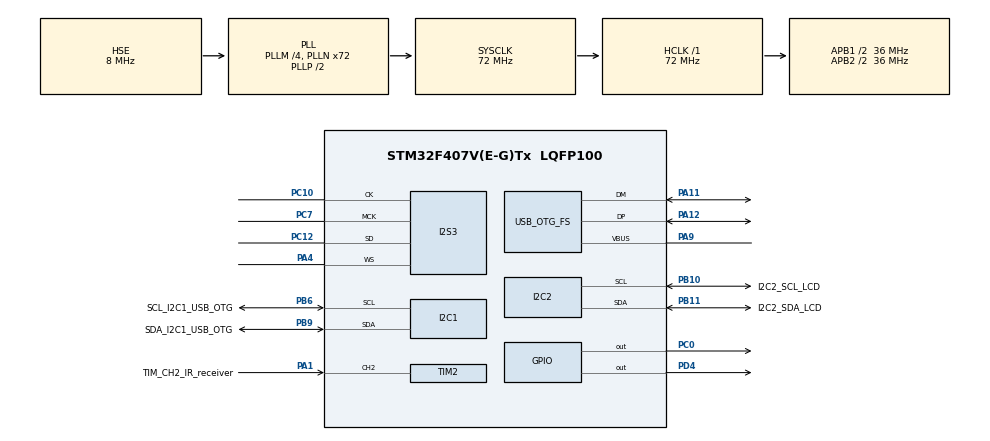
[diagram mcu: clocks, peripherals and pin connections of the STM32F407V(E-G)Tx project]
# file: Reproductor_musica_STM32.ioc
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ADC1.Channel-0\#ChannelRegularConversion=ADC_CHANNEL_TEMPSENSOR
ADC1.Channel-1\#ChannelRegularConversion=ADC_CHANNEL_TEMPSENSOR
ADC1.Channel-2\#ChannelRegularConversion=ADC_CHANNEL_TEMPSENSOR
ADC1.ContinuousConvMode=DISABLE
ADC1.DMAContinuousRequests=ENABLE
ADC1.ExternalTrigConv=ADC_EXTERNALTRIGCONV_T3_TRGO
ADC1.NbrOfConversion=3
ADC1.NbrOfConversionFlag=1
ADC1.Rank-0\#ChannelRegularConversion=1
ADC1.Rank-1\#ChannelRegularConversion=2
ADC1.Rank-2\#ChannelRegularConversion=3
ADC1.Resolution=ADC_RESOLUTION_10B
ADC1.SamplingTime-0\#ChannelRegularConversion=ADC_SAMPLETIME_480CYCLES
ADC1.SamplingTime-1\#ChannelRegularConversion=ADC_SAMPLETIME_480CYCLES
ADC1.SamplingTime-2\#ChannelRegularConversion=ADC_SAMPLETIME_480CYCLES
ADC1.master=1
Dma.ADC1.1.Direction=DMA_PERIPH_TO_MEMORY
Dma.ADC1.1.FIFOMode=DMA_FIFOMODE_DISABLE
Dma.ADC1.1.Instance=DMA2_Stream0
Dma.ADC1.1.MemDataAlignment=DMA_MDATAALIGN_HALFWORD
Dma.ADC1.1.MemInc=DMA_MINC_ENABLE
Dma.ADC1.1.Mode=DMA_CIRCULAR
Dma.ADC1.1.PeriphDataAlignment=DMA_PDATAALIGN_HALFWORD
Dma.ADC1.1.PeriphInc=DMA_PINC_DISABLE
Dma.ADC1.1.Priority=DMA_PRIORITY_LOW
Dma.Request0=SPI3_TX
Dma.Request1=ADC1
Dma.SPI3_TX.0.Direction=DMA_MEMORY_TO_PERIPH
Dma.SPI3_TX.0.FIFOMode=DMA_FIFOMODE_ENABLE
Dma.SPI3_TX.0.FIFOThreshold=DMA_FIFO_THRESHOLD_FULL
Dma.SPI3_TX.0.Instance=DMA1_Stream5
Dma.SPI3_TX.0.MemBurst=DMA_MBURST_SINGLE
Dma.SPI3_TX.0.MemDataAlignment=DMA_MDATAALIGN_HALFWORD
Dma.SPI3_TX.0.MemInc=DMA_MINC_ENABLE
Dma.SPI3_TX.0.Mode=DMA_CIRCULAR
Dma.SPI3_TX.0.PeriphBurst=DMA_PBURST_SINGLE
Dma.SPI3_TX.0.PeriphDataAlignment=DMA_PDATAALIGN_HALFWORD
Dma.SPI3_TX.0.PeriphInc=DMA_PINC_DISABLE
Dma.SPI3_TX.0.Priority=DMA_PRIORITY_LOW
FATFS._USE_LFN=1
I2S3.AudioFreq=I2S_AUDIOFREQ_44K
I2S3.ErrorAudioFreq=-0.12 %
I2S3.FullDuplexMode=I2S_FULLDUPLEXMODE_DISABLE
I2S3.Instance=SPI$Index
I2S3.RealAudioFreq=43.945 KHz
I2S3.VirtualMode=I2S_MODE_MASTER
Mcu.Family=STM32F4
Mcu.Name=STM32F407V(E-G)Tx
Mcu.Package=LQFP100
NVIC.DMA1_Stream5_IRQn=true\:0\:0\:true\:false\:true\:false\:true
NVIC.DMA2_Stream0_IRQn=true\:0\:0\:false\:false\:true\:false\:true
NVIC.OTG_FS_IRQn=true\:0\:0\:true\:false\:true\:false\:true
NVIC.PriorityGroup=NVIC_PRIORITYGROUP_4
NVIC.TIM2_IRQn=true\:0\:0\:false\:false\:true\:true\:true
NVIC.TIM3_IRQn=true\:0\:0\:false\:false\:true\:true\:true
PA1.GPIO_Label=TIM_CH2_IR_receiver
PA1.Signal=S_TIM2_CH2
PA11.Mode=Host_Only
PA11.Signal=USB_OTG_FS_DM
PA12.Mode=Host_Only
PA12.Signal=USB_OTG_FS_DP
PA4.Mode=Half_Duplex_Master
PA4.Signal=I2S3_WS
PA9.Mode=Activate_VBUS
PA9.Signal=USB_OTG_FS_VBUS
PB10.GPIO_Label=I2C2_SCL_LCD
PB10.Mode=I2C
PB10.Signal=I2C2_SCL
PB11.GPIO_Label=I2C2_SDA_LCD
PB11.Mode=I2C
PB11.Signal=I2C2_SDA
PB6.GPIO_Label=SCL_I2C1_USB_OTG
PB6.Mode=I2C
PB6.Signal=I2C1_SCL
PB9.GPIO_Label=SDA_I2C1_USB_OTG
PB9.Mode=I2C
PB9.Signal=I2C1_SDA
PC0.Signal=GPIO_Output
PC10.Mode=Half_Duplex_Master
PC10.Signal=I2S3_CK
PC12.Mode=Half_Duplex_Master
PC12.Signal=I2S3_SD
PC7.Mode=Master_Clock_Activated
PC7.Signal=I2S3_MCK
PD4.Signal=GPIO_Output
PH0-OSC_IN.Mode=HSE-External-Oscillator
PH0-OSC_IN.Signal=RCC_OSC_IN
PH1-OSC_OUT.Mode=HSE-External-Oscillator
PH1-OSC_OUT.Signal=RCC_OSC_OUT
ProjectManager.HeapSize=0x200
ProjectManager.StackSize=0x400
ProjectManager.TargetToolchain=STM32CubeIDE
RCC.48MHZClocksFreq_Value=48000000
RCC.AHBFreq_Value=72000000
RCC.APB1CLKDivider=RCC_HCLK_DIV2
RCC.APB1Freq_Value=36000000
RCC.APB1TimFreq_Value=72000000
RCC.APB2CLKDivider=RCC_HCLK_DIV2
RCC.APB2Freq_Value=36000000
RCC.APB2TimFreq_Value=72000000
RCC.CortexFreq_Value=72000000
RCC.HCLKFreq_Value=72000000
RCC.HSE_VALUE=8000000
RCC.HSI_VALUE=16000000
RCC.LSE_VALUE=32768
RCC.PLLI2SN=90
RCC.PLLM=4
RCC.PLLN=72
RCC.PLLQ=3
RCC.SYSCLKFreq_VALUE=72000000
RCC.SYSCLKSource=RCC_SYSCLKSOURCE_PLLCLK
RCC.VCOOutputFreq_Value=144000000
SH.S_TIM2_CH2.0=TIM2_CH2,Input_Capture2_from_TI2
TIM2.Channel-Input_Capture2_from_TI2=TIM_CHANNEL_2
TIM2.ICPolarity_CH2=TIM_INPUTCHANNELPOLARITY_FALLING
TIM2.Prescaler=7199
TIM3.Period=49999
TIM3.Prescaler=7199
TIM3.TIM_MasterOutputTrigger=TIM_TRGO_UPDATE
TIM3.TIM_MasterSlaveMode=TIM_MASTERSLAVEMODE_DISABLE
USB_HOST.BSP.number=1
USB_HOST.USBH_HandleTypeDef-MSC_FS=hUsbHostFS
USB_HOST.VirtualModeFS=Msc
USB_HOST0.BSP.STBoard=false
USB_HOST0.BSP.api=Unknown
USB_HOST0.BSP.i2caddr=0
USB_HOST0.BSP.instance=PC0
USB_HOST0.BSP.ip=GPIO
USB_HOST0.BSP.mode=Output
USB_HOST0.BSP.name=Drive_VBUS_FS
USB_HOST0.BSP.solution=PC0
USB_OTG_FS.VirtualMode=Host_Only
USB_OTG_FS.phy_itface=HCD_PHY_EMBEDDED
VP_ADC1_TempSens_Input.Mode=IN-TempSens
VP_FATFS_VS_USB.Mode=USB
VP_TIM2_VS_ClockSourceINT.Mode=Internal
VP_TIM3_VS_ClockSourceINT.Mode=Internal
VP_USB_HOST_VS_USB_HOST_MSC_FS.Mode=MSC_FS
board=custom

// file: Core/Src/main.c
/* USER CODE BEGIN Header */
/**
  ******************************************************************************
  * @file           : main.c
  * @brief          : Main program body
  ******************************************************************************
  * @attention
  *
  * Copyright (c) 2022 STMicroelectronics.
  * All rights reserved.
  *
  * This software is licensed under terms that can be found in the LICENSE file
  * in the root directory of this software component.
  * If no LICENSE file comes with this software, it is provided AS-IS.
  *
  ******************************************************************************
  */
/* USER CODE END Header */
#include "main.h"
#include "fatfs.h"
#include "usb_host.h"

/* USER CODE BEGIN Includes */
#include<string.h>
#include "AUDIO_LINK.h"
#include "AUDIO.h"
#include "cs43l22.h"
#include "waveplayer.h"
#include "File_Handling.h"

#include "lcd16x2_i2c.h"      //Librería para el control del LCD 16x2
#include "nec_ir_stm32.h"     //Librería para la decodificación de la señal del sensor infrarrojos
/* USER CODE END Includes */

ADC_HandleTypeDef hadc1;
DMA_HandleTypeDef hdma_adc1;

I2C_HandleTypeDef hi2c1;
I2C_HandleTypeDef hi2c2;

I2S_HandleTypeDef hi2s3;
DMA_HandleTypeDef hdma_spi3_tx;

TIM_HandleTypeDef htim2;
TIM_HandleTypeDef htim3;

/* USER CODE BEGIN PV */

//VARIABLES DATOS INFRARROJOS
volatile uint32_t buffer=0;     //Buffer para el almacenamiento de los datos recibidos por el IR
uint8_t device=0;               //Código del elemento emisor
uint8_t mensaje=0;              //Código del mensaje recibido
volatile uint8_t flag_end=0;    //Marca para indicar que se han recibido nuevos datos del sensor IR. 0 si no lo ha hecho, 1 si si

//VARIABLES FICHEROS Y CONTROL DE MUSICA
uint8_t IsPlaying=0;			//Marca para indicar si se esta reproduciendo musica. 1 si se esta reproduciendo, 0 si no
extern ApplicationTypeDef Appli_state;
extern AUDIO_PLAYBACK_StateTypeDef AudioState;
char nombre[40];				//Nombre de la canción que se está reproduciendo
uint16_t idx;					//Indice de la canción que se está reproduciendo
extern FILELIST_FileTypeDef FileList;  //Lista de canciones generada a partir de los archivos del USB
uint8_t IsFinished=0;			//1 si ha terminado de reproducir la cancion

//VARIABLES SENSOR TEMPERATURA
volatile uint16_t ADC_value[3]={0,0,0};	//Valor leido del sensor de temperatura
float temperatura=0;			//Temperatura media de las tres medidas
float Vsense=0;					//Tension medida con el sensor
uint8_t convCompleted=0;        //1 si se ha completado una lectura del sensor

/* USER CODE END PV */

void SystemClock_Config(void);
static void MX_GPIO_Init(void);
static void MX_DMA_Init(void);
static void MX_I2C1_Init(void);
static void MX_I2S3_Init(void);
static void MX_I2C2_Init(void);
static void MX_TIM2_Init(void);
static void MX_ADC1_Init(void);
static void MX_TIM3_Init(void);
void MX_USB_HOST_Process(void);

/* USER CODE BEGIN PFP */
void HAL_TIM_IC_CaptureCallback(TIM_HandleTypeDef* htim);
void HAL_ADC_ConvCpltCallback(ADC_HandleTypeDef* hadc);
void imprimeLCD(uint8_t USB_connected, uint8_t IsPlaying, char* nombre,float temperatura);
/* USER CODE END PFP */

int main(void)
{

  /* MCU Configuration--------------------------------------------------------*/

  /* Reset of all peripherals, Initializes the Flash interface and the Systick. */
  HAL_Init();

  /* Configure the system clock */
  SystemClock_Config();

  /* Initialize all configured peripherals */
  MX_GPIO_Init();
  MX_DMA_Init();
  MX_I2C1_Init();
  MX_I2S3_Init();
  MX_FATFS_Init();
  MX_USB_HOST_Init();
  MX_I2C2_Init();
  MX_TIM2_Init();
  MX_ADC1_Init();
  MX_TIM3_Init();
  /* USER CODE BEGIN 2 */

  //Inicializacion interrupciones temporizador para receptor IR
  HAL_TIM_IC_Start_IT(&htim2, TIM_CHANNEL_2);

  //Inicializacion LCD
  lcd16x2_i2c_init(&hi2c2);
  lcd16x2_i2c_TwoLines();
  lcd16x2_i2c_setCursor(0, 5);
  lcd16x2_i2c_printf("Hola!!");
  lcd16x2_i2c_setCursor(0, 0);
  HAL_Delay(3000);

  //Inicializacion sensor de temperatura y su temporizador
  HAL_TIM_Base_Start(&htim3);
  HAL_ADC_Start_DMA(&hadc1, (uint32_t*)ADC_value, 3);
  /* USER CODE END 2 */

  /* Infinite loop */
  while (1)
  {
    MX_USB_HOST_Process();

    /* USER CODE BEGIN 3 */
    //Si el USB se ha conectado correctamente, se inicia la aplicacion
    if(Appli_state==APPLICATION_READY)
    {
    	Mount_USB();		 //Se monta el USB
    	AUDIO_PLAYER_Start(0);  //Se comienza a reproducir la primera cancion de la lista
    	IsPlaying=1;
        while(!IsFinished)
        {
       	AUDIO_PLAYER_Process(true);

       	/*Se obtiene el nombre de la canción que se encuentra en
       	reproduccion para poder imprimirlo en el LCD. Para ello
       	se introduce en la caden "nombre" y se imprime
       	 */
       	idx=getFilePos(); //Se obtiene la posicion de la lista de la cancion que se reproduce
        	if(strcmp(nombre,(char*)FileList.file[idx].name)) //Si el contenido de "nombre" es distinto al del archivo que se esta reproduciendo
        	{
        		strcpy(nombre,(char*)FileList.file[idx].name); //Se copia el nombre del archivo en "nombre"
        		imprimeLCD(1, IsPlaying, nombre, temperatura); //Se imprime en el LCD
        	}

        	/*Si han llegado nuevos datos al buffer del control remoto
        	se obtienen de el los datos recibidos y el codigo del dispositivo emisor,
        	y dependiendo de lo que le haya llegado, realizara una funcion u otra
        	*/
        	if(flag_end)
        	{
        		decodeIR(&buffer,&device, &mensaje); //Se obtiene el mensaje enviado y el codigo del dispositivo a partir de los datos del buffer
        		if(device==0xff) //Si el codigo del dispositivo emisor coincide con el de nuestro control remoto
        		{
        			switch(mensaje) //Se realizara una accion sobre el control de la musica dependiendo de que le haya llegado
        			{
        			case 0xbf: //NEXT
        				AudioState=AUDIO_STATE_NEXT;
        				IsPlaying=1;
        				break;
        			case 0xbb: //PREV
        				AudioState=AUDIO_STATE_PREVIOUS;
        				IsPlaying=1;
        				break;
        			case 0xbc: //PLAY-PAUSE
        				if(AudioState==AUDIO_STATE_PLAY)
        				{
        					AudioState=AUDIO_STATE_PAUSE;
        					IsPlaying=0;
        				}
        				else if(AudioState==AUDIO_STATE_WAIT)
        				{
        					AudioState=AUDIO_STATE_RESUME;
        					IsPlaying=1;
        				}
        				break;
        			case 0xf8: //VOLUME DOWN
        				AudioState=AUDIO_STATE_VOLUME_DOWN;
        				break;
        			case 0xea: //VOLUME UP
        				AudioState=AUDIO_STATE_VOLUME_UP;
        				break;
        			}
        			flag_end=0; //Se vuelve a poner a cero la marca de fin para poder hacer nuevas lecturas de datos
        			imprimeLCD(1, IsPlaying, nombre, temperatura); //Se imprime de nuevo el LCD
        		}
        	}

        	/*Si se ha realizado una lectura del sensor de temperatura, se convertiran los datos de las
        	lecturas y se hara una media para obtener la medida de la temperatura
        	*/
        	if(convCompleted)
        	{
        		temperatura=0.0f;
        		Vsense=0.0f;
        		for(int i=0;i<3;i++)
        		{
        			Vsense=((2910.0/0x3FF)*(float)ADC_value[i])/1000.0;
        			temperatura+=((Vsense-0.76)/0.0025)+25;
        		}
        		temperatura/=3;
        		imprimeLCD(1, IsPlaying, nombre, temperatura);
        		convCompleted=0;
        	}

       	if(AudioState==AUDIO_STATE_STOP)
      		{
      			IsFinished=1;
       	}
        }
    }
    //Si el USB no se ha conectado, la aplicacion no iniciara y mostrara un mensaje en el LCD
    else
    {
    	if(strcmp(nombre,"Insert USB")) //El mensaje se introducira en la cadena "nombre". Comprueba si el contenido es el mismo que el mensaje para hacer solo una impersion en el LCD
    	{
    		imprimeLCD(0, IsPlaying, nombre, temperatura);
    	}
    }
  }
  /* USER CODE END 3 */
}

void SystemClock_Config(void)
{
  RCC_OscInitTypeDef RCC_OscInitStruct = {0};
  RCC_ClkInitTypeDef RCC_ClkInitStruct = {0};

  /** Configure the main internal regulator output voltage
  */
  __HAL_RCC_PWR_CLK_ENABLE();
  __HAL_PWR_VOLTAGESCALING_CONFIG(PWR_REGULATOR_VOLTAGE_SCALE1);
  /** Initializes the RCC Oscillators according to the specified parameters
  * in the RCC_OscInitTypeDef structure.
  */
  RCC_OscInitStruct.OscillatorType = RCC_OSCILLATORTYPE_HSE;
  RCC_OscInitStruct.HSEState = RCC_HSE_ON;
  RCC_OscInitStruct.PLL.PLLState = RCC_PLL_ON;
  RCC_OscInitStruct.PLL.PLLSource = RCC_PLLSOURCE_HSE;
  RCC_OscInitStruct.PLL.PLLM = 4;
  RCC_OscInitStruct.PLL.PLLN = 72;
  RCC_OscInitStruct.PLL.PLLP = RCC_PLLP_DIV2;
  RCC_OscInitStruct.PLL.PLLQ = 3;
  if (HAL_RCC_OscConfig(&RCC_OscInitStruct) != HAL_OK)
  {
    Error_Handler();
  }
  /** Initializes the CPU, AHB and APB buses clocks
  */
  RCC_ClkInitStruct.ClockType = RCC_CLOCKTYPE_HCLK|RCC_CLOCKTYPE_SYSCLK
                              |RCC_CLOCKTYPE_PCLK1|RCC_CLOCKTYPE_PCLK2;
  RCC_ClkInitStruct.SYSCLKSource = RCC_SYSCLKSOURCE_PLLCLK;
  RCC_ClkInitStruct.AHBCLKDivider = RCC_SYSCLK_DIV1;
  RCC_ClkInitStruct.APB1CLKDivider = RCC_HCLK_DIV2;
  RCC_ClkInitStruct.APB2CLKDivider = RCC_HCLK_DIV2;

  if (HAL_RCC_ClockConfig(&RCC_ClkInitStruct, FLASH_LATENCY_2) != HAL_OK)
  {
    Error_Handler();
  }
}

static void MX_ADC1_Init(void)
{

  ADC_ChannelConfTypeDef sConfig = {0};

  /** Configure the global features of the ADC (Clock, Resolution, Data Alignment and number of conversion)
  */
  hadc1.Instance = ADC1;
  hadc1.Init.ClockPrescaler = ADC_CLOCK_SYNC_PCLK_DIV2;
  hadc1.Init.Resolution = ADC_RESOLUTION_10B;
  hadc1.Init.ScanConvMode = ENABLE;
  hadc1.Init.ContinuousConvMode = DISABLE;
  hadc1.Init.DiscontinuousConvMode = DISABLE;
  hadc1.Init.ExternalTrigConvEdge = ADC_EXTERNALTRIGCONVEDGE_RISING;
  hadc1.Init.ExternalTrigConv = ADC_EXTERNALTRIGCONV_T3_TRGO;
  hadc1.Init.DataAlign = ADC_DATAALIGN_RIGHT;
  hadc1.Init.NbrOfConversion = 3;
  hadc1.Init.DMAContinuousRequests = ENABLE;
  hadc1.Init.EOCSelection = ADC_EOC_SINGLE_CONV;
  if (HAL_ADC_Init(&hadc1) != HAL_OK)
  {
    Error_Handler();
  }
  /** Configure for the selected ADC regular channel its corresponding rank in the sequencer and its sample time.
  */
  sConfig.Channel = ADC_CHANNEL_TEMPSENSOR;
  sConfig.Rank = 1;
  sConfig.SamplingTime = ADC_SAMPLETIME_480CYCLES;
  if (HAL_ADC_ConfigChannel(&hadc1, &sConfig) != HAL_OK)
  {
    Error_Handler();
  }
  /** Configure for the selected ADC regular channel its corresponding rank in the sequencer and its sample time.
  */
  sConfig.Rank = 2;
  if (HAL_ADC_ConfigChannel(&hadc1, &sConfig) != HAL_OK)
  {
    Error_Handler();
  }
  /** Configure for the selected ADC regular channel its corresponding rank in the sequencer and its sample time.
  */
  sConfig.Rank = 3;
  if (HAL_ADC_ConfigChannel(&hadc1, &sConfig) != HAL_OK)
  {
    Error_Handler();
  }

}

static void MX_I2C1_Init(void)
{

  hi2c1.Instance = I2C1;
  hi2c1.Init.ClockSpeed = 100000;
  hi2c1.Init.DutyCycle = I2C_DUTYCYCLE_2;
  hi2c1.Init.OwnAddress1 = 0;
  hi2c1.Init.AddressingMode = I2C_ADDRESSINGMODE_7BIT;
  hi2c1.Init.DualAddressMode = I2C_DUALADDRESS_DISABLE;
  hi2c1.Init.OwnAddress2 = 0;
  hi2c1.Init.GeneralCallMode = I2C_GENERALCALL_DISABLE;
  hi2c1.Init.NoStretchMode = I2C_NOSTRETCH_DISABLE;
  if (HAL_I2C_Init(&hi2c1) != HAL_OK)
  {
    Error_Handler();
  }

}

static void MX_I2C2_Init(void)
{

  hi2c2.Instance = I2C2;
  hi2c2.Init.ClockSpeed = 100000;
  hi2c2.Init.DutyCycle = I2C_DUTYCYCLE_2;
  hi2c2.Init.OwnAddress1 = 0;
  hi2c2.Init.AddressingMode = I2C_ADDRESSINGMODE_7BIT;
  hi2c2.Init.DualAddressMode = I2C_DUALADDRESS_DISABLE;
  hi2c2.Init.OwnAddress2 = 0;
  hi2c2.Init.GeneralCallMode = I2C_GENERALCALL_DISABLE;
  hi2c2.Init.NoStretchMode = I2C_NOSTRETCH_DISABLE;
  if (HAL_I2C_Init(&hi2c2) != HAL_OK)
  {
    Error_Handler();
  }

}

static void MX_I2S3_Init(void)
{

  hi2s3.Instance = SPI3;
  hi2s3.Init.Mode = I2S_MODE_MASTER_TX;
  hi2s3.Init.Standard = I2S_STANDARD_PHILIPS;
  hi2s3.Init.DataFormat = I2S_DATAFORMAT_16B;
  hi2s3.Init.MCLKOutput = I2S_MCLKOUTPUT_ENABLE;
  hi2s3.Init.AudioFreq = I2S_AUDIOFREQ_44K;
  hi2s3.Init.CPOL = I2S_CPOL_LOW;
  hi2s3.Init.ClockSource = I2S_CLOCK_PLL;
  hi2s3.Init.FullDuplexMode = I2S_FULLDUPLEXMODE_DISABLE;
  if (HAL_I2S_Init(&hi2s3) != HAL_OK)
  {
    Error_Handler();
  }

}

static void MX_TIM2_Init(void)
{

  TIM_ClockConfigTypeDef sClockSourceConfig = {0};
  TIM_MasterConfigTypeDef sMasterConfig = {0};
  TIM_IC_InitTypeDef sConfigIC = {0};

  htim2.Instance = TIM2;
  htim2.Init.Prescaler = 7199;
  htim2.Init.CounterMode = TIM_COUNTERMODE_UP;
  htim2.Init.Period = 4294967295;
  htim2.Init.ClockDivision = TIM_CLOCKDIVISION_DIV1;
  htim2.Init.AutoReloadPreload = TIM_AUTORELOAD_PRELOAD_DISABLE;
  if (HAL_TIM_Base_Init(&htim2) != HAL_OK)
  {
    Error_Handler();
  }
  sClockSourceConfig.ClockSource = TIM_CLOCKSOURCE_INTERNAL;
  if (HAL_TIM_ConfigClockSource(&htim2, &sClockSourceConfig) != HAL_OK)
  {
    Error_Handler();
  }
  if (HAL_TIM_IC_Init(&htim2) != HAL_OK)
  {
    Error_Handler();
  }
  sMasterConfig.MasterOutputTrigger = TIM_TRGO_RESET;
  sMasterConfig.MasterSlaveMode = TIM_MASTERSLAVEMODE_DISABLE;
  if (HAL_TIMEx_MasterConfigSynchronization(&htim2, &sMasterConfig) != HAL_OK)
  {
    Error_Handler();
  }
  sConfigIC.ICPolarity = TIM_INPUTCHANNELPOLARITY_FALLING;
  sConfigIC.ICSelection = TIM_ICSELECTION_DIRECTTI;
  sConfigIC.ICPrescaler = TIM_ICPSC_DIV1;
  sConfigIC.ICFilter = 0;
  if (HAL_TIM_IC_ConfigChannel(&htim2, &sConfigIC, TIM_CHANNEL_2) != HAL_OK)
  {
    Error_Handler();
  }

}

static void MX_TIM3_Init(void)
{

  TIM_ClockConfigTypeDef sClockSourceConfig = {0};
  TIM_MasterConfigTypeDef sMasterConfig = {0};

  htim3.Instance = TIM3;
  htim3.Init.Prescaler = 7199;
  htim3.Init.CounterMode = TIM_COUNTERMODE_UP;
  htim3.Init.Period = 49999;
  htim3.Init.ClockDivision = TIM_CLOCKDIVISION_DIV1;
  htim3.Init.AutoReloadPreload = TIM_AUTORELOAD_PRELOAD_DISABLE;
  if (HAL_TIM_Base_Init(&htim3) != HAL_OK)
  {
    Error_Handler();
  }
  sClockSourceConfig.ClockSource = TIM_CLOCKSOURCE_INTERNAL;
  if (HAL_TIM_ConfigClockSource(&htim3, &sClockSourceConfig) != HAL_OK)
  {
    Error_Handler();
  }
  sMasterConfig.MasterOutputTrigger = TIM_TRGO_UPDATE;
  sMasterConfig.MasterSlaveMode = TIM_MASTERSLAVEMODE_DISABLE;
  if (HAL_TIMEx_MasterConfigSynchronization(&htim3, &sMasterConfig) != HAL_OK)
  {
    Error_Handler();
  }

}

static void MX_DMA_Init(void)
{

  /* DMA controller clock enable */
  __HAL_RCC_DMA1_CLK_ENABLE();
  __HAL_RCC_DMA2_CLK_ENABLE();

  /* DMA interrupt init */
  /* DMA1_Stream5_IRQn interrupt configuration */
  HAL_NVIC_SetPriority(DMA1_Stream5_IRQn, 0, 0);
  HAL_NVIC_EnableIRQ(DMA1_Stream5_IRQn);
  /* DMA2_Stream0_IRQn interrupt configuration */
  HAL_NVIC_SetPriority(DMA2_Stream0_IRQn, 0, 0);
  HAL_NVIC_EnableIRQ(DMA2_Stream0_IRQn);

}

static void MX_GPIO_Init(void)
{
  GPIO_InitTypeDef GPIO_InitStruct = {0};

  /* GPIO Ports Clock Enable */
  __HAL_RCC_GPIOH_CLK_ENABLE();
  __HAL_RCC_GPIOC_CLK_ENABLE();
  __HAL_RCC_GPIOA_CLK_ENABLE();
  __HAL_RCC_GPIOB_CLK_ENABLE();
  __HAL_RCC_GPIOD_CLK_ENABLE();

  /*Configure GPIO pin Output Level */
  HAL_GPIO_WritePin(GPIOC, GPIO_PIN_0, GPIO_PIN_RESET);

  /*Configure GPIO pin Output Level */
  HAL_GPIO_WritePin(GPIOD, GPIO_PIN_4, GPIO_PIN_RESET);

  /*Configure GPIO pin : PC0 */
  GPIO_InitStruct.Pin = GPIO_PIN_0;
  GPIO_InitStruct.Mode = GPIO_MODE_OUTPUT_PP;
  GPIO_InitStruct.Pull = GPIO_NOPULL;
  GPIO_InitStruct.Speed = GPIO_SPEED_FREQ_LOW;
  HAL_GPIO_Init(GPIOC, &GPIO_InitStruct);

  /*Configure GPIO pin : PD4 */
  GPIO_InitStruct.Pin = GPIO_PIN_4;
  GPIO_InitStruct.Mode = GPIO_MODE_OUTPUT_PP;
  GPIO_InitStruct.Pull = GPIO_NOPULL;
  GPIO_InitStruct.Speed = GPIO_SPEED_FREQ_LOW;
  HAL_GPIO_Init(GPIOD, &GPIO_InitStruct);

}

/* USER CODE BEGIN 4 */
void HAL_TIM_IC_CaptureCallback(TIM_HandleTypeDef* htim)
{
	if(htim->Instance==TIM2)
	{
		if(!HAL_GPIO_ReadPin(GPIOA, GPIO_PIN_1)) //Nos aseguramos de que esté la señal del receptor IR a nivel bajo
		{
			getDataIR(&buffer,__HAL_TIM_GET_COUNTER(htim),&flag_end); //Se obtienen los datos obtenidos y se alamacenan en "buffer"
		}
		__HAL_TIM_SET_COUNTER(htim,0); //Volvemos a poner el temporizador a cero para la siguiente cuenta

	}
}
void HAL_ADC_ConvCpltCallback(ADC_HandleTypeDef* hadc)
{
	convCompleted=1; //Cuando se ha completado una conversion con el ADC, se pone la marca a 1
}
void imprimeLCD(uint8_t USB_connected, uint8_t IsPlaying, char* nombre,float temperatura)
{
	/*
	Funcion empleada para la impresion de informacion en la pantalla LCD.
	Se le habra de pasar una variable que le indique si el USB ha sido conectado o no.
	Si no ha sido conectado, se copiara el mensaje "Insert USB" en la cadena "nombre"
	y se imprimira.
	Si el USB ha sido detectado, se imprimira en el LCD la temperatura registrada,
	el nombre de la cancion que se encuentra en reproduccion, y el mensaje "PLAY" o
	"PAUSE" en funcion de si la cancion se esta reproduciendo o esta pausada. Para ello
	se le ha de pasar una marca "IsPlaying" que verifique la reproduccion de la cancion.
	Para imprimir cualquier cosa en el LCD, habra que limpiar siempre el contenido de lo
	que ya hay impreso, y tras finalizar, se habra de regresar el cursor del LCD a su posicion
	de referencia (0,0).
	*/
	if(USB_connected)
	{
		lcd16x2_i2c_clear();
		lcd16x2_i2c_1stLine();
		lcd16x2_i2c_printf("T:%dC",(int)temperatura);
		if(IsPlaying)
		{
			lcd16x2_i2c_setCursor(0, 9);
			lcd16x2_i2c_printf("PLAY");
			lcd16x2_i2c_setCursor(0, 0);
		}
		else
		{
			lcd16x2_i2c_setCursor(0, 9);
			lcd16x2_i2c_printf("PAUSE");
			lcd16x2_i2c_setCursor(0, 0);
		}
		lcd16x2_i2c_2ndLine();
		lcd16x2_i2c_printf(nombre);
		lcd16x2_i2c_1stLine();
	}
	else
	{
		strcpy(nombre,"Insert USB");
		lcd16x2_i2c_clear();
		lcd16x2_i2c_2ndLine();
		lcd16x2_i2c_printf(nombre);
		lcd16x2_i2c_1stLine();
	}
}
/* USER CODE END 4 */

void Error_Handler(void)
{
  __disable_irq();
  while (1)
  {
  }
}
